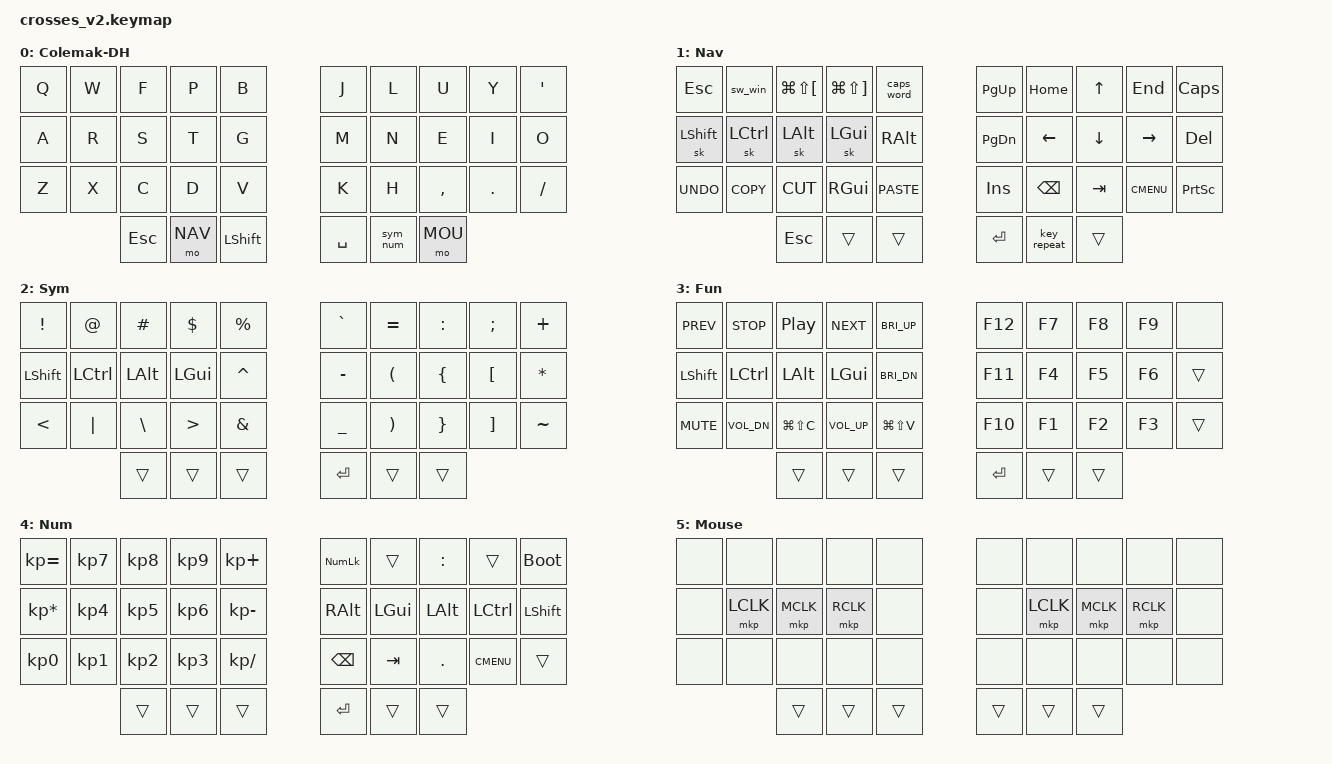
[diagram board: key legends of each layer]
#include <behaviors.dtsi>
#include <dt-bindings/zmk/keys.h>
#include <dt-bindings/zmk/bt.h>
#include <dt-bindings/zmk/rgb.h>
#include <dt-bindings/zmk/outputs.h>
#include <dt-bindings/zmk/pointing.h>

#define DEF 0
#define NAV 1
#define SYM 2
#define FUN 3
#define NUM 4
#define MOU 5

/*
* ┌───┬───┬───┬───┬───┬───┐       ┌───┬───┬───┬───┬───┬───┐
* │ Q │ W │ F │ P │ B │   │       │ J │ L │ U │ Y │ ' │   │
* ├───┼───┼───┼───┼───┼───┤       ├───┼───┼───┼───┼───┼───┤
* | A │ R │ S │ T │ G │   │       │ M │ N │ E │ I │ O │   │
* ├───┼───┼───┼───┼───┼───┤       ├───┼───┼───┼───┼───┼───┤
* │ Z │ X │ C │ D │ V │   │       │ K │ H │ , │ . │ / │   │
* └───┴───┴───┴───┴───┴───┘       └───┴───┴───┴───┴───┴───┘
*               ┌─── ┐                        ┌─── ┐
*               │ ESC├─ ──┐              ┌ ───┤MOUS│
*               └─── ┤NAV ├─ ──┐   ┌─  ──┤ SYM├─── ┘
*                    └─ ──┤ SFT│   │SPACE├ ───┘
*                         └─ ──┘   └─  ──┘
*
*/

/* Configure sticky keys (one-shot mods) */
&sk {
    release-after-ms = <30000>;
    quick-release;
    ignore-modifiers;
};

/ {
    chosen { zmk,physical-layout = &gggw_crosses_36_layout; };
    behaviors {
        /* Press SYM thumb key while Shift is held to activate NUM */
        sym_num: sym_num {
            compatible = "zmk,behavior-mod-morph";
            #binding-cells = <0>;
            bindings = <&mo SYM>, <&mo NUM>;
            mods = <(MOD_LSFT | MOD_RSFT)>;
        };

        /* Single-key window switcher: hold GUI, tap Tab, release on layer exit/other key */
        sw_win: sw_win {
            compatible = "zmk,behavior-smart-toggle";
            #binding-cells = <0>;
            bindings = <&kp LGUI>, <&kp TAB>;
        };
    };

    conditional_layers {
        compatible = "zmk,conditional-layers";
        tri_layer {
            if-layers = <NAV SYM>;
            then-layer = <FUN>;
        };
    };

    keymap {
        compatible = "zmk,keymap";

        default_layer {
            display-name = "Colemak-DH";
            bindings = <
                &kp Q       &kp W       &kp F       &kp P       &kp B       &kp J       &kp L       &kp U       &kp Y       &kp SQT
                &kp A       &kp R       &kp S       &kp T       &kp G       &kp M       &kp N       &kp E       &kp I       &kp O
                &kp Z       &kp X       &kp C       &kp D       &kp V       &kp K       &kp H       &kp COMMA   &kp DOT     &kp FSLH
                                        &kp ESC     &mo NAV     &kp LSHFT   &kp SPACE       &sym_num        &mo MOU
            >;
        };

        nav_layer {
            display-name = "Nav";
            bindings = <
                &kp ESC     &sw_win     &kp LG(LS(LBKT)) &kp LG(LS(RBKT)) &caps_word     &kp PG_UP   &kp HOME     &kp UP      &kp END     &kp CAPSLOCK
                &sk LSHIFT  &sk LCTRL   &sk LALT         &sk LGUI         &kp RALT       &kp PG_DN   &kp LEFT     &kp DOWN    &kp RIGHT   &kp DEL
                &kp K_UNDO  &kp K_COPY  &kp K_CUT        &kp RGUI         &kp K_PASTE    &kp INSERT  &kp BSPC     &kp TAB     &kp K_CMENU &kp PSCRN
                                        &kp ESC          &trans           &trans         &kp RET     &key_repeat  &trans
            >;
        };

        sym_layer {
            display-name = "Sym";
            bindings = <
                &kp EXCL    &kp AT      &kp HASH    &kp DLLR    &kp PRCNT      &kp GRAVE       &kp EQUAL   &kp COLON   &kp SEMI    &kp PLUS
                &kp LSHIFT  &kp LCTRL   &kp LALT    &kp LGUI    &kp CARET      &kp MINUS       &kp LPAR    &kp LBRC    &kp LBKT    &kp ASTRK
                &kp LT      &kp PIPE    &kp BSLH    &kp GT      &kp AMPS       &kp UNDERSCORE  &kp RPAR    &kp RBRC    &kp RBKT    &kp TILDE
                                        &trans      &trans      &trans         &kp RET         &trans      &trans
            >;
        };

        fun_layer {
            display-name = "Fun";
            bindings = <
                &kp C_PREV  &kp C_STOP   &kp C_PP      &kp C_NEXT   &kp C_BRI_UP      &kp F12     &kp F7      &kp F8      &kp F9      &none
                &kp LSHIFT  &kp LCTRL    &kp LALT      &kp LGUI     &kp C_BRI_DN      &kp F11     &kp F4      &kp F5      &kp F6      &trans
                &kp C_MUTE  &kp C_VOL_DN &kp LG(LS(C)) &kp C_VOL_UP &kp LG(LS(V))     &kp F10     &kp F1      &kp F2      &kp F3      &trans
                                            &trans      &trans      &trans            &kp RET     &trans       &trans
            >;
        };

        num_layer {
            display-name = "Num";
            bindings = <
                &kp KP_EQUAL    &kp KP_N7   &kp KP_N8   &kp KP_N9   &kp KP_PLUS        &kp KP_NUMLOCK &trans      &kp COLON   &trans      &bootloader
                &kp KP_MULTIPLY &kp KP_N4   &kp KP_N5   &kp KP_N6   &kp KP_MINUS       &kp RALT       &kp LGUI    &kp LALT    &kp LCTRL   &kp LSHIFT
                &kp KP_N0       &kp KP_N1   &kp KP_N2   &kp KP_N3   &kp KP_DIVIDE      &kp BSPC       &kp TAB     &kp DOT     &kp K_CMENU &trans
                                            &trans      &trans      &trans             &kp RET        &trans      &trans
            >;
        };

        mouse_layer {
            display-name = "Mouse";
            bindings = <
                &none           &none         &none      &none      &none           &none           &none      &none      &none      &none
                &none           &mkp LCLK     &mkp MCLK  &mkp RCLK  &none           &none           &mkp LCLK  &mkp MCLK  &mkp RCLK  &none
                &none           &none         &none      &none      &none           &none           &none      &none      &none      &none
                                              &trans     &trans     &trans          &trans          &trans     &trans
            >;
        };
    };
};
